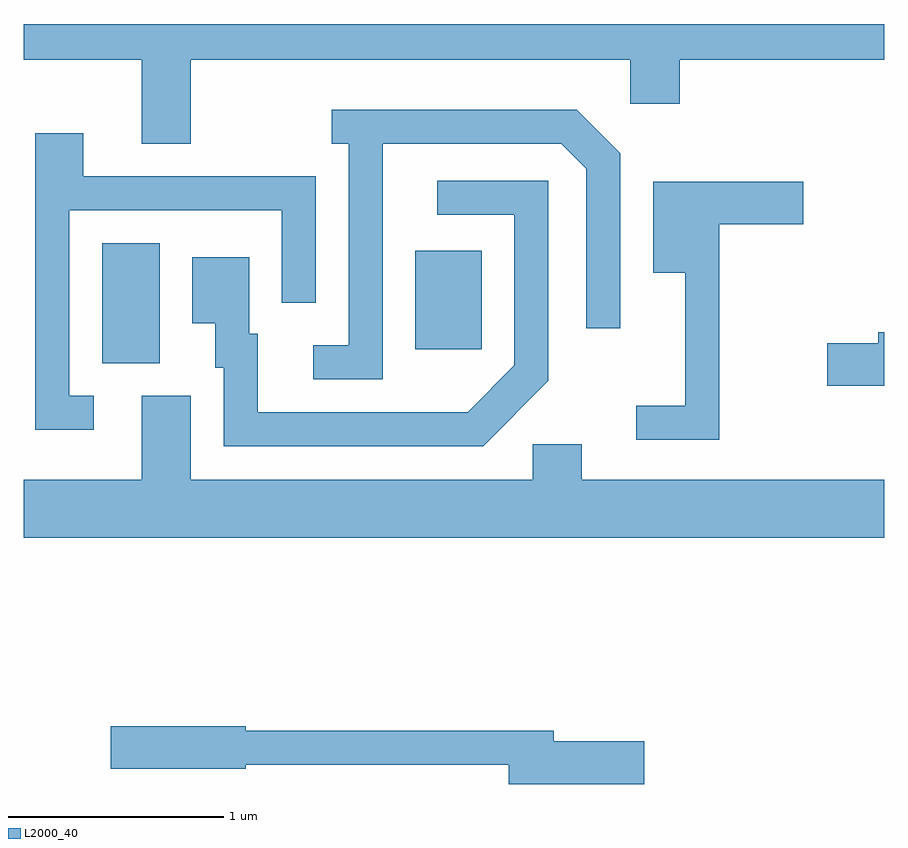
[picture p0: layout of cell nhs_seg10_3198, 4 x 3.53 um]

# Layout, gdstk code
import gdstk
lib = gdstk.Library(unit=1e-6, precision=1e-09)
def R(c, l, rs):  # rectangles x0, y0, x1, y1
    for r in rs: c.add(gdstk.rectangle(r[:2], r[2:], *l))
def P(c, l, *ps):  # polygons
    for p in ps: c.add(gdstk.Polygon(p, *l))
L2000_40 = (2000, 40)

nhs_seg10_3198 = lib.new_cell('nhs_seg10_3198')
R(nhs_seg10_3198, L2000_40, [(279.976,2116.946,280.244,2117.504), (281.431,2117.011,281.739,2117.469)])
P(nhs_seg10_3198, L2000_40, [(280.389,2118.356),(282.431,2118.356),(282.431,2118.151),(282.659,2118.151),(282.659,2118.356),(283.611,2118.356),(283.611,2118.522),(279.611,2118.522),(279.611,2118.356),(280.161,2118.356),(280.161,2117.966),(280.389,2117.966)],
  [(281.279,2117.966),(282.109,2117.966),(282.226,2117.849),(282.226,2117.108),(282.384,2117.108),(282.384,2117.922),(282.182,2118.124),(281.043,2118.124),(281.043,2117.966),(281.121,2117.966),(281.121,2117.029),(280.958,2117.029),(280.958,2116.871),(281.279,2116.871)],
  [(279.938,2116.794),(279.824,2116.794),(279.824,2117.656),(280.811,2117.656),(280.811,2117.228),(280.969,2117.228),(280.969,2117.814),(279.889,2117.814),(279.889,2118.014),(279.666,2118.014),(279.666,2116.636),(279.938,2116.636)],
  [(282.049,2116.864),(282.049,2117.794),(281.533,2117.794),(281.533,2117.636),(281.891,2117.636),(281.891,2116.937),(281.674,2116.719),(280.699,2116.719),(280.699,2117.084),(280.659,2117.084),(280.659,2117.439),(280.396,2117.439),(280.396,2117.131),(280.501,2117.131),(280.501,2116.926),(280.541,2116.926),(280.541,2116.561),(281.747,2116.561)],
  [(282.844,2117.591),(283.234,2117.591),(283.234,2117.789),(282.536,2117.789),(282.536,2117.366),(282.686,2117.366),(282.686,2116.749),(282.458,2116.749),(282.458,2116.591),(282.844,2116.591)],
  [(283.611,2117.089),(283.581,2117.089),(283.581,2117.039),(283.346,2117.039),(283.346,2116.841),(283.611,2116.841)],
  [(283.611,2116.404),(282.204,2116.404),(282.204,2116.569),(281.976,2116.569),(281.976,2116.404),(280.389,2116.404),(280.389,2116.794),(280.161,2116.794),(280.161,2116.404),(279.611,2116.404),(279.611,2116.136),(283.611,2116.136)],
  [(282.494,2115.189),(282.074,2115.189),(282.074,2115.239),(280.644,2115.239),(280.644,2115.259),(280.016,2115.259),(280.016,2115.061),(280.644,2115.061),(280.644,2115.081),(281.866,2115.081),(281.866,2114.991),(282.494,2114.991)])

lib.write_gds('nhs_seg10_3198.gds')
